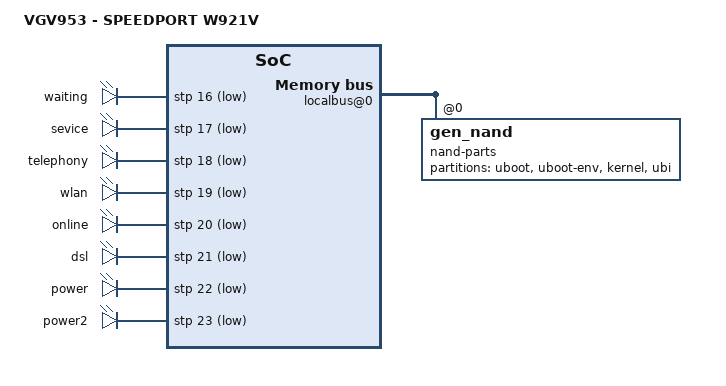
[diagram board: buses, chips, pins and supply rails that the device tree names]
/dts-v1/;

/include/ "VGV953.dtsi"

/ {
	model = "VGV953 - SPEEDPORT W921V";

	fpi@10000000 {
		localbus@0 {
			nand-parts@0 {
				compatible = "gen_nand", "lantiq,nand-xway";
				lantiq,cs = <1>;
				bank-width = <2>;
				reg = <0 0x0 0x2000000>;
				#address-cells = <1>;
				#size-cells = <1>;

				partition@0 {
					label = "uboot";
					reg = <0x0 0x40000>;
				};
				partition@40000 {
					label = "uboot-env";
					reg = <0x40000 0x20000>;
				};
				partition@60000 {
					label = "kernel";
					reg = <0x60000 0x200000>;
				};
				partition@260000 {
					label = "ubi";
					reg = <0x260000 0x1da0000>;
				};
			};
		};
		pcie@d900000 {
			status = "disabled";
		};
	};

	gpio-leds {
		compatible = "gpio-leds";

		waiting {				/* white */
			label = "waiting";
			gpios = <&stp 16 1>;
		};
		service {				/* white */
			label = "sevice";
			gpios = <&stp 17 1>;
		};
		telephony {				/* white */
			label = "telephony";
			gpios = <&stp 18 1>;
		};
		wlan {					/* white */
			label = "wlan";
			gpios = <&stp 19 1>;
		};
		online {				/* white */
			label = "online";
			gpios = <&stp 20 1>;
		};
		dsl {					/* white */
			label = "dsl";
			gpios = <&stp 21 1>;
		};
		power {					/* red */
			label = "power";
			gpios = <&stp 22 1>;
		};
		power2 {				/* white */
			label = "power2";
			gpios = <&stp 23 1>;
		};
	};
};
